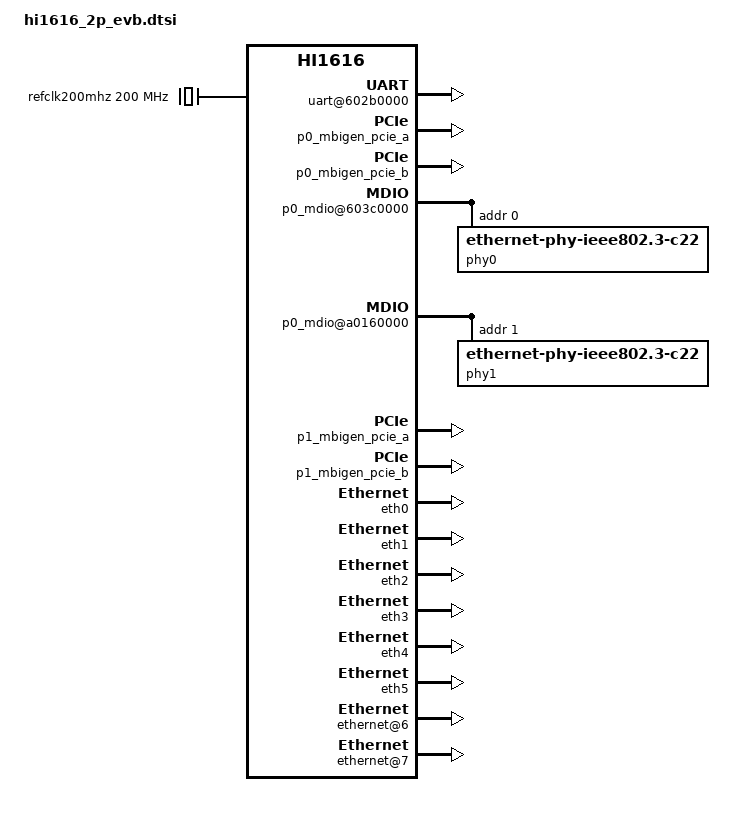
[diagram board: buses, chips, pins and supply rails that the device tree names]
/**
 * dtsi file for Hisilicon Hi1616 EVB
 *
 * Copyright (C) 2016 Hisilicon Ltd.
 *
 * This program is free software; you can redistribute it and/or modify
 * it under the terms of the GNU General Public License version 2 as
 * publishhed by the Free Software Foundation.
 *
 */

/ {
	#address-cells = <2>;
	#size-cells = <2>;
	compatible = "hisilicon,hi1616";
	interrupt-parent = <&gic0>;

	psci {
		compatible = "arm,psci-0.2";
		method = "smc";
	};

	cpus {
		#address-cells = <1>;
		#size-cells = <0>;

		cpu-map {
			cluster0 {
				core0 {
					cpu = <&CPU0>;
				};

				core1 {
					cpu = <&CPU1>;
				};

				core2 {
					cpu = <&CPU2>;
				};

				core3 {
					cpu = <&CPU3>;
				};

				core4 {
					cpu = <&CPU4>;
				};

				core5 {
					cpu = <&CPU5>;
				};

				core6 {
					cpu = <&CPU6>;
				};

				core7 {
					cpu = <&CPU7>;
				};

				core8 {
					cpu = <&CPU8>;
				};

				core9 {
					cpu = <&CPU9>;
				};

				core10 {
					cpu = <&CPU10>;
				};

				core11 {
					cpu = <&CPU11>;
				};

				core12 {
					cpu = <&CPU12>;
				};

				core13 {
					cpu = <&CPU13>;
				};

				core14 {
					cpu = <&CPU14>;
				};

				core15 {
					cpu = <&CPU15>;
				};
			};

			cluster1 {
				core0 {
					cpu = <&CPU16>;
				};

				core1 {
					cpu = <&CPU17>;
				};

				core2 {
					cpu = <&CPU18>;
				};

				core3 {
					cpu = <&CPU19>;
				};

				core4 {
					cpu = <&CPU20>;
				};

				core5 {
					cpu = <&CPU21>;
				};

				core6 {
					cpu = <&CPU22>;
				};

				core7 {
					cpu = <&CPU23>;
				};

				core8 {
					cpu = <&CPU24>;
				};

				core9 {
					cpu = <&CPU25>;
				};

				core10 {
					cpu = <&CPU26>;
				};

				core11 {
					cpu = <&CPU27>;
				};

				core12 {
					cpu = <&CPU28>;
				};

				core13 {
					cpu = <&CPU29>;
				};

				core14 {
					cpu = <&CPU30>;
				};

				core15 {
					cpu = <&CPU31>;
				};
			};

			cluster2 {
				core0 {
					cpu = <&CPU32>;
				};

				core1 {
					cpu = <&CPU33>;
				};

				core2 {
					cpu = <&CPU34>;
				};

				core3 {
					cpu = <&CPU35>;
				};

				core4 {
					cpu = <&CPU36>;
				};

				core5 {
					cpu = <&CPU37>;
				};

				core6 {
					cpu = <&CPU38>;
				};

				core7 {
					cpu = <&CPU39>;
				};

				core8 {
					cpu = <&CPU40>;
				};

				core9 {
					cpu = <&CPU41>;
				};

				core10 {
					cpu = <&CPU42>;
				};

				core11 {
					cpu = <&CPU43>;
				};

				core12 {
					cpu = <&CPU44>;
				};

				core13 {
					cpu = <&CPU45>;
				};

				core14 {
					cpu = <&CPU46>;
				};

				core15 {
					cpu = <&CPU47>;
				};
			};

			cluster3 {
				core0 {
					cpu = <&CPU48>;
				};

				core1 {
					cpu = <&CPU49>;
				};

				core2 {
					cpu = <&CPU50>;
				};

				core3 {
					cpu = <&CPU51>;
				};

				core4 {
					cpu = <&CPU52>;
				};

				core5 {
					cpu = <&CPU53>;
				};

				core6 {
					cpu = <&CPU54>;
				};

				core7 {
					cpu = <&CPU55>;
				};

				core8 {
					cpu = <&CPU56>;
				};

				core9 {
					cpu = <&CPU57>;
				};

				core10 {
					cpu = <&CPU58>;
				};

				core11 {
					cpu = <&CPU59>;
				};

				core12 {
					cpu = <&CPU60>;
				};

				core13 {
					cpu = <&CPU61>;
				};

				core14 {
					cpu = <&CPU62>;
				};

				core15 {
					cpu = <&CPU63>;
				};
			};
		};

		CPU0: cpu@10000 {
			device_type = "cpu";
			compatible = "arm,armv8";
			reg = <0x10000>;
			enable-method = "psci";
			numa-node-id = <0>;
		};

		CPU1: cpu@10001 {
			device_type = "cpu";
			compatible = "arm,armv8";
			reg = <0x10001>;
			enable-method = "psci";
			numa-node-id = <0>;
		};

		CPU2: cpu@10002 {
			device_type = "cpu";
			compatible = "arm,armv8";
			reg = <0x10002>;
			enable-method = "psci";
			numa-node-id = <0>;
		};

		CPU3: cpu@10003 {
			device_type = "cpu";
			compatible = "arm,armv8";
			reg = <0x10003>;
			enable-method = "psci";
			numa-node-id = <0>;
		};

		CPU4: cpu@10100 {
			device_type = "cpu";
			compatible = "arm,armv8";
			reg = <0x10100>;
			enable-method = "psci";
			numa-node-id = <0>;
		};

		CPU5: cpu@10101 {
			device_type = "cpu";
			compatible = "arm,armv8";
			reg = <0x10101>;
			enable-method = "psci";
			numa-node-id = <0>;
		};

		CPU6: cpu@10102 {
			device_type = "cpu";
			compatible = "arm,armv8";
			reg = <0x10102>;
			enable-method = "psci";
			numa-node-id = <0>;
		};

		CPU7: cpu@10103 {
			device_type = "cpu";
			compatible = "arm,armv8";
			reg = <0x10103>;
			enable-method = "psci";
			numa-node-id = <0>;
		};

		CPU8: cpu@10200 {
			device_type = "cpu";
			compatible = "arm,armv8";
			reg = <0x10200>;
			enable-method = "psci";
			numa-node-id = <0>;
		};

		CPU9: cpu@10201 {
			device_type = "cpu";
			compatible = "arm,armv8";
			reg = <0x10201>;
			enable-method = "psci";
			numa-node-id = <0>;
		};

		CPU10: cpu@10202 {
			device_type = "cpu";
			compatible = "arm,armv8";
			reg = <0x10202>;
			enable-method = "psci";
			numa-node-id = <0>;
		};

		CPU11: cpu@10203 {
			device_type = "cpu";
			compatible = "arm,armv8";
			reg = <0x10203>;
			enable-method = "psci";
			numa-node-id = <0>;
		};

		CPU12: cpu@10300 {
			device_type = "cpu";
			compatible = "arm,armv8";
			reg = <0x10300>;
			enable-method = "psci";
			numa-node-id = <0>;
		};

		CPU13: cpu@10301 {
			device_type = "cpu";
			compatible = "arm,armv8";
			reg = <0x10301>;
			enable-method = "psci";
			numa-node-id = <0>;
		};

		CPU14: cpu@10302 {
			device_type = "cpu";
			compatible = "arm,armv8";
			reg = <0x10302>;
			enable-method = "psci";
			numa-node-id = <0>;
		};

		CPU15: cpu@10303 {
			device_type = "cpu";
			compatible = "arm,armv8";
			reg = <0x10303>;
			enable-method = "psci";
			numa-node-id = <0>;
		};

		CPU16: cpu@30000 {
			device_type = "cpu";
			compatible = "arm,armv8";
			reg = <0x30000>;
			enable-method = "psci";
			numa-node-id = <1>;
		};

		CPU17: cpu@30001 {
			device_type = "cpu";
			compatible = "arm,armv8";
			reg = <0x30001>;
			enable-method = "psci";
			numa-node-id = <1>;
		};

		CPU18: cpu@30002 {
			device_type = "cpu";
			compatible = "arm,armv8";
			reg = <0x30002>;
			enable-method = "psci";
			numa-node-id = <1>;
		};

		CPU19: cpu@30003 {
			device_type = "cpu";
			compatible = "arm,armv8";
			reg = <0x30003>;
			enable-method = "psci";
			numa-node-id = <1>;
		};

		CPU20: cpu@30100 {
			device_type = "cpu";
			compatible = "arm,armv8";
			reg = <0x30100>;
			enable-method = "psci";
			numa-node-id = <1>;
		};

		CPU21: cpu@30101 {
			device_type = "cpu";
			compatible = "arm,armv8";
			reg = <0x30101>;
			enable-method = "psci";
			numa-node-id = <1>;
		};

		CPU22: cpu@30102 {
			device_type = "cpu";
			compatible = "arm,armv8";
			reg = <0x30102>;
			enable-method = "psci";
			numa-node-id = <1>;
		};

		CPU23: cpu@30103 {
			device_type = "cpu";
			compatible = "arm,armv8";
			reg = <0x30103>;
			enable-method = "psci";
			numa-node-id = <1>;
		};

		CPU24: cpu@30200 {
			device_type = "cpu";
			compatible = "arm,armv8";
			reg = <0x30200>;
			enable-method = "psci";
			numa-node-id = <1>;
		};

		CPU25: cpu@30201 {
			device_type = "cpu";
			compatible = "arm,armv8";
			reg = <0x30201>;
			enable-method = "psci";
			numa-node-id = <1>;
		};

		CPU26: cpu@30202 {
			device_type = "cpu";
			compatible = "arm,armv8";
			reg = <0x30202>;
			enable-method = "psci";
			numa-node-id = <1>;
		};

		CPU27: cpu@30203 {
			device_type = "cpu";
			compatible = "arm,armv8";
			reg = <0x30203>;
			enable-method = "psci";
			numa-node-id = <1>;
		};

		CPU28: cpu@30300 {
			device_type = "cpu";
			compatible = "arm,armv8";
			reg = <0x30300>;
			enable-method = "psci";
			numa-node-id = <1>;
		};

		CPU29: cpu@30301 {
			device_type = "cpu";
			compatible = "arm,armv8";
			reg = <0x30301>;
			enable-method = "psci";
			numa-node-id = <1>;
		};

		CPU30: cpu@30302 {
			device_type = "cpu";
			compatible = "arm,armv8";
			reg = <0x30302>;
			enable-method = "psci";
			numa-node-id = <1>;
		};

		CPU31: cpu@30303 {
			device_type = "cpu";
			compatible = "arm,armv8";
			reg = <0x30303>;
			enable-method = "psci";
			numa-node-id = <1>;
		};

		CPU32: cpu@50000 {
			device_type = "cpu";
			compatible = "arm,armv8";
			reg = <0x50000>;
			enable-method = "psci";
			numa-node-id = <2>;
		};

		CPU33: cpu@50001 {
			device_type = "cpu";
			compatible = "arm,armv8";
			reg = <0x50001>;
			enable-method = "psci";
			numa-node-id = <2>;
		};

		CPU34: cpu@50002 {
			device_type = "cpu";
			compatible = "arm,armv8";
			reg = <0x50002>;
			enable-method = "psci";
			numa-node-id = <2>;
		};

		CPU35: cpu@50003 {
			device_type = "cpu";
			compatible = "arm,armv8";
			reg = <0x50003>;
			enable-method = "psci";
			numa-node-id = <2>;
		};

		CPU36: cpu@50100 {
			device_type = "cpu";
			compatible = "arm,armv8";
			reg = <0x50100>;
			enable-method = "psci";
			numa-node-id = <2>;
		};

		CPU37: cpu@50101 {
			device_type = "cpu";
			compatible = "arm,armv8";
			reg = <0x50101>;
			enable-method = "psci";
			numa-node-id = <2>;
		};

		CPU38: cpu@50102 {
			device_type = "cpu";
			compatible = "arm,armv8";
			reg = <0x50102>;
			enable-method = "psci";
			numa-node-id = <2>;
		};

		CPU39: cpu@50103 {
			device_type = "cpu";
			compatible = "arm,armv8";
			reg = <0x50103>;
			enable-method = "psci";
			numa-node-id = <2>;
		};

		CPU40: cpu@50200 {
			device_type = "cpu";
			compatible = "arm,armv8";
			reg = <0x50200>;
			enable-method = "psci";
			numa-node-id = <2>;
		};

		CPU41: cpu@50201 {
			device_type = "cpu";
			compatible = "arm,armv8";
			reg = <0x50201>;
			enable-method = "psci";
			numa-node-id = <2>;
		};

		CPU42: cpu@50202 {
			device_type = "cpu";
			compatible = "arm,armv8";
			reg = <0x50202>;
			enable-method = "psci";
			numa-node-id = <2>;
		};

		CPU43: cpu@50203 {
			device_type = "cpu";
			compatible = "arm,armv8";
			reg = <0x50203>;
			enable-method = "psci";
			numa-node-id = <2>;
		};

		CPU44: cpu@50300 {
			device_type = "cpu";
			compatible = "arm,armv8";
			reg = <0x50300>;
			enable-method = "psci";
			numa-node-id = <2>;
		};

		CPU45: cpu@50301 {
			device_type = "cpu";
			compatible = "arm,armv8";
			reg = <0x50301>;
			enable-method = "psci";
			numa-node-id = <2>;
		};

		CPU46: cpu@50302 {
			device_type = "cpu";
			compatible = "arm,armv8";
			reg = <0x50302>;
			enable-method = "psci";
			numa-node-id = <2>;
		};

		CPU47: cpu@50303 {
			device_type = "cpu";
			compatible = "arm,armv8";
			reg = <0x50303>;
			enable-method = "psci";
			numa-node-id = <2>;
		};

		CPU48: cpu@70000 {
			device_type = "cpu";
			compatible = "arm,armv8";
			reg = <0x70000>;
			enable-method = "psci";
			numa-node-id = <3>;
		};

		CPU49: cpu@70001 {
			device_type = "cpu";
			compatible = "arm,armv8";
			reg = <0x70001>;
			enable-method = "psci";
			numa-node-id = <3>;
		};

		CPU50: cpu@70002 {
			device_type = "cpu";
			compatible = "arm,armv8";
			reg = <0x70002>;
			enable-method = "psci";
			numa-node-id = <3>;
		};

		CPU51: cpu@70003 {
			device_type = "cpu";
			compatible = "arm,armv8";
			reg = <0x70003>;
			enable-method = "psci";
			numa-node-id = <3>;
		};

		CPU52: cpu@70100 {
			device_type = "cpu";
			compatible = "arm,armv8";
			reg = <0x70100>;
			enable-method = "psci";
			numa-node-id = <3>;
		};

		CPU53: cpu@70101 {
			device_type = "cpu";
			compatible = "arm,armv8";
			reg = <0x70101>;
			enable-method = "psci";
			numa-node-id = <3>;
		};

		CPU54: cpu@70102 {
			device_type = "cpu";
			compatible = "arm,armv8";
			reg = <0x70102>;
			enable-method = "psci";
			numa-node-id = <3>;
		};

		CPU55: cpu@70103 {
			device_type = "cpu";
			compatible = "arm,armv8";
			reg = <0x70103>;
			enable-method = "psci";
			numa-node-id = <3>;
		};

		CPU56: cpu@70200 {
			device_type = "cpu";
			compatible = "arm,armv8";
			reg = <0x70200>;
			enable-method = "psci";
			numa-node-id = <3>;
		};

		CPU57: cpu@70201 {
			device_type = "cpu";
			compatible = "arm,armv8";
			reg = <0x70201>;
			enable-method = "psci";
			numa-node-id = <3>;
		};

		CPU58: cpu@70202 {
			device_type = "cpu";
			compatible = "arm,armv8";
			reg = <0x70202>;
			enable-method = "psci";
			numa-node-id = <3>;
		};

		CPU59: cpu@70203 {
			device_type = "cpu";
			compatible = "arm,armv8";
			reg = <0x70203>;
			enable-method = "psci";
			numa-node-id = <3>;
		};

		CPU60: cpu@70300 {
			device_type = "cpu";
			compatible = "arm,armv8";
			reg = <0x70300>;
			enable-method = "psci";
			numa-node-id = <3>;
		};

		CPU61: cpu@70301 {
			device_type = "cpu";
			compatible = "arm,armv8";
			reg = <0x70301>;
			enable-method = "psci";
			numa-node-id = <3>;
		};

		CPU62: cpu@70302 {
			device_type = "cpu";
			compatible = "arm,armv8";
			reg = <0x70302>;
			enable-method = "psci";
			numa-node-id = <3>;
		};

		CPU63: cpu@70303 {
			device_type = "cpu";
			compatible = "arm,armv8";
			reg = <0x70303>;
			enable-method = "psci";
			numa-node-id = <3>;
		};
	};

	distance-map {
		compatible = "numa-distance-map-v1";
		distance-matrix = <0 1 15>, <2 3 15>;
	};

	gic0: interrupt-controller@4d000000 {
		compatible = "arm,gic-v3";
		#interrupt-cells = <3>;
		#address-cells = <2>;
		#size-cells = <2>;
		ranges;
		status-clear-fixup;
		interrupt-controller;
		#redistributor-regions = <4>;
		redistributor-stride = <0x0 0x40000>;
		reg = <0x0 0x4d000000 0x0 0x10000>,	/* P0 GICD A*/
		      <0x0 0x4d100000 0x0 0x400000>,	/* P0 GICR A*/
		      <0x0 0x6d100000 0x0 0x400000>,	/* P0 GICR B*/
		      <0x400 0x4d100000 0x0 0x400000>,	/* P1 GICR A*/
		      <0x400 0x6d100000 0x0 0x400000>,	/* P1 GICR B*/
		      <0x0 0xfe000000 0x0 0x10000>,	/* GICC */
		      <0x0 0xfe010000 0x0 0x10000>,     /* GICH */
		      <0x0 0xfe020000 0x0 0x10000>;     /* GICV */
		interrupts = <1 9 0xff04>;

		p0_its_peri_a: interrupt-controller@0x4c000000 {
			compatible = "arm,gic-v3-its";
			msi-controller;
			reg = <0x0 0x4c000000 0x0 0x1000000>;
		};

		p0_its_peri_b: interrupt-controller@0x6c000000 {
			compatible = "arm,gic-v3-its";
			msi-controller;
			reg = <0x0 0x6c000000 0x0 0x1000000>;
		};

		p0_its_dsa_a: interrupt-controller@0xc6000000 {
			compatible = "arm,gic-v3-its";
			msi-controller;
			reg = <0x0 0xc6000000 0x0 0x1000000>;
		};

		p0_its_dsa_b: interrupt-controller@0x8c6000000 {
			compatible = "arm,gic-v3-its";
			msi-controller;
			reg = <0x8 0xc6000000 0x0 0x1000000>;
		};

		p1_its_peri_a: interrupt-controller@0x4004c000000 {
			compatible = "arm,gic-v3-its";
			msi-controller;
			reg = <0x400 0x4c000000 0x0 0x1000000>;
		};

		p1_its_peri_b: interrupt-controller@0x4006c000000 {
			compatible = "arm,gic-v3-its";
			msi-controller;
			reg = <0x400 0x6c000000 0x0 0x1000000>;
		};

		p1_its_dsa_a: interrupt-controller@0x400c6000000 {
			compatible = "arm,gic-v3-its";
			msi-controller;
			reg = <0x400 0xc6000000 0x0 0x1000000>;
		};

		p1_its_dsa_b: interrupt-controller@0x408c6000000 {
			compatible = "arm,gic-v3-its";
			msi-controller;
			reg = <0x408 0xc6000000 0x0 0x1000000>;
		};
	};

	timer {
		compatible = "arm,armv8-timer";
		interrupts = <1 13 4>,
			     <1 14 4>,
			     <1 11 4>,
			     <1 10 4>;
		hisi,erratum-totem-v2;
	};

	pmu {
		compatible = "arm,armv8-pmuv3";
		interrupts = <1 7 4>;
	};

	soc {
		compatible = "simple-bus";
		#address-cells = <2>;
		#size-cells = <2>;
		ranges;

		refclk200mhz: refclk200mhz {
			compatible = "fixed-clock";
			#clock-cells = <0>;
			clock-frequency = <200000000>;
		};

		uart@602b0000 {
			compatible = "arm,pl011", "arm,primecell";
			reg = <0x0 0x602b0000 0x0 0x1000>;
			interrupt-parent = <&p0_mbigen_peri_b>;
			interrupts = <0x120c7 1 103 6>;
			clocks = <&refclk200mhz>;
			clock-names = "apb_pclk";
		};

		p0_mbigen_peri_a: interrupt-controller@40080000 {
			compatible = "hisilicon,mbigen-v2";
			msi-parent = <&p0_its_peri_a>;
			interrupt-controller;
			#interrupt-cells = <0x4>;
			reg = <0x0 0x40080000 0x0 0x10000>;
		};

		p0_mbigen_peri_b: interrupt-controller@60080000 {
			compatible = "hisilicon,mbigen-v2";
			msi-parent = <&p0_its_peri_b>;
			interrupt-controller;
			#interrupt-cells = <0x4>;
			reg = <0x0 0x60080000 0x0 0x10000>;
		};

		p0_mbigen_pcie_a: interrupt-controller@a0080000 {
			compatible = "hisilicon,mbigen-v2";
			msi-parent = <&p0_its_dsa_a>;
			interrupt-controller;
			#interrupt-cells = <4>;
			reg = <0x0 0xa0080000 0x0 0x10000>;
		};

		p0_mbigen_dsa_a: interrupt-controller@c0080000 {
			compatible = "hisilicon,mbigen-v2";
			msi-parent = <&p0_its_dsa_a>;
			interrupt-controller;
			#interrupt-cells = <4>;
			reg = <0x0 0xc0080000 0x0 0x10000>;
		};

		p0_mbigen_alg_a: interrupt-controller@d0080000 {
			compatible = "hisilicon,mbigen-v2";
			msi-parent = <&p0_its_dsa_a>;
			interrupt-controller;
			#interrupt-cells = <4>;
			reg = <0x0 0xd0080000 0x0 0x10000>;
		};

		p0_mbigen_pcie_b: interrupt-controller@8a0080000 {
			compatible = "hisilicon,mbigen-v2";
			msi-parent = <&p0_its_dsa_b>;
			interrupt-controller;
			#interrupt-cells = <4>;
			reg = <0x8 0xa0080000 0x0 0x10000>;
		};

		p0_mbigen_dsa_b: interrupt-controller@8c0080000 {
			compatible = "hisilicon,mbigen-v2";
			msi-parent = <&p0_its_dsa_b>;
			interrupt-controller;
			#interrupt-cells = <4>;
			reg = <0x8 0xc0080000 0x0 0x10000>;
		};

		p0_mbigen_alg_b: interrupt-controller@8d0080000 {
			compatible = "hisilicon,mbigen-v2";
			msi-parent = <&p0_its_dsa_b>;
			interrupt-controller;
			#interrupt-cells = <4>;
			reg = <0x8 0xd0080000 0x0 0x10000>;
		};

		p0_peri_c_subctrl: sub_ctrl_c@60000000 {
			compatible = "hisilicon,peri-c-subctrl", "syscon";
			reg = <0 0x60000000 0 0x10000>;
		};

		p0_io_wrap_ctrl: wrap_ctrl@a0100000 {
			compatible = "hisilicon,io-wrap-ctrl", "syscon";
			reg = <0 0xa0100000 0 0x10000>;
		};

		p0_mdio@603c0000 {
			compatible = "hisilicon,hi1616-mdio";
			reg = <0x0 0x603c0000 0x0 0x1000>;
			subctrl_vbase = <&p0_peri_c_subctrl>;
			#address-cells = <0x1>;
			#size-cells = <0x0>;

			phy0: ethernet-phy@6 {
				compatible = "ethernet-phy-ieee802.3-c22";
				reg = <0>;
			};
		};

		p0_mdio@a0160000 {
			compatible = "hisilicon,hi1616-mdio";
			reg = <0x0 0xa0160000 0x0 0x1000>;
			subctrl_vbase = <&p0_io_wrap_ctrl>;
			#address-cells = <0x1>;
			#size-cells = <0x0>;

			phy1: ethernet-phy@7 {
				compatible = "ethernet-phy-ieee802.3-c22";
				reg = <1>;
			};
		};

		p1_mbigen_peri_a: interrupt-controller@40040080000 {
			compatible = "hisilicon,mbigen-v2";
			msi-parent = <&p1_its_peri_a>;
			interrupt-controller;
			#interrupt-cells = <0x4>;
			reg = <0x400 0x40080000 0x0 0x10000>;
		};

		p1_mbigen_peri_b: interrupt-controller@40060080000 {
			compatible = "hisilicon,mbigen-v2";
			msi-parent = <&p1_its_peri_b>;
			interrupt-controller;
			#interrupt-cells = <0x4>;
			reg = <0x400 0x60080000 0x0 0x10000>;
		};

		p1_mbigen_pcie_a: interrupt-controller@400a0080000 {
			compatible = "hisilicon,mbigen-v2";
			msi-parent = <&p1_its_dsa_a>;
			interrupt-controller;
			#interrupt-cells = <4>;
			reg = <0x400 0xa0080000 0x0 0x10000>;
		};

		p1_mbigen_dsa_a: interrupt-controller@400c0080000 {
			compatible = "hisilicon,mbigen-v2";
			msi-parent = <&p1_its_dsa_a>;
			interrupt-controller;
			#interrupt-cells = <4>;
			reg = <0x400 0xc0080000 0x0 0x10000>;
		};

		p1_mbigen_alg_a: interrupt-controller@400d0080000 {
			compatible = "hisilicon,mbigen-v2";
			msi-parent = <&p1_its_dsa_a>;
			interrupt-controller;
			#interrupt-cells = <4>;
			reg = <0x400 0xd0080000 0x0 0x10000>;
		};

		p1_mbigen_pcie_b: interrupt-controller@408a0080000 {
			compatible = "hisilicon,mbigen-v2";
			msi-parent = <&p1_its_dsa_b>;
			interrupt-controller;
			#interrupt-cells = <4>;
			reg = <0x408 0xa0080000 0x0 0x10000>;
		};

		p1_mbigen_dsa_b: interrupt-controller@408c0080000 {
			compatible = "hisilicon,mbigen-v2";
			msi-parent = <&p1_its_dsa_b>;
			interrupt-controller;
			#interrupt-cells = <4>;
			reg = <0x408 0xc0080000 0x0 0x10000>;
		};

		p1_mbigen_alg_b: interrupt-controller@408d0080000 {
			compatible = "hisilicon,mbigen-v2";
			msi-parent = <&p1_its_dsa_b>;
			interrupt-controller;
			#interrupt-cells = <4>;
			reg = <0x408 0xd0080000 0x0 0x10000>;
		};

		/* djtag in p0 cpu die */
		p0_totem_sysctrl_a: system-controller@40010000 {
			compatible = "hisilicon,hi1616-sysctrl", "syscon";
			reg = <0x0 0x40010000 0x0 0x10000>;
		};

		p0_totem_sysctrl_b: system-controller@60010000 {
			compatible = "hisilicon,hi1616-sysctrl", "syscon";
			reg = <0x0 0x60010000 0x0 0x10000>;
		};

		p0_djtag0: djtag@p0_0 {
			compatible = "hisilicon,hi1382-djtag";
			syscon = <&p0_totem_sysctrl_a>;
		};

		p0_djtag1: djtag@p0_1 {
			compatible = "hisilicon,hi1382-djtag";
			syscon = <&p0_totem_sysctrl_b>;
		};

		/* djtag in p0 io die */
		p0_nimbus_sysctrl_a: system-controller@d0000000 {
			compatible = "hisilicon,hi1616-io-sysctrl", "syscon";
			reg = <0x0 0xD0000000 0x0 0x10000>;
		};

		p0_nimbus_sysctrl_b: system-controller@8d0000000 {
			compatible = "hisilicon,hi1616-io-sysctrl", "syscon";
			reg = <0x8 0xD0000000 0x0 0x10000>;
		};

		p0_djtag2: djtag@p0_2 {
			compatible = "hisilicon,hi1382-djtag";
			syscon = <&p0_nimbus_sysctrl_a>;
		};

		p0_djtag3: djtag@p0_3 {
			compatible = "hisilicon,hi1382-djtag";
			syscon = <&p0_nimbus_sysctrl_b>;
		};

		/* djtag in p1 cpu die */
		p1_totem_sysctrl_a: system-controller@40040010000 {
			compatible = "hisilicon,hi1616-sysctrl", "syscon";
			reg = <0x400 0x40010000 0x0 0x10000>;
		};

		p1_totem_sysctrl_b: system-controller@40060010000 {
			compatible = "hisilicon,hi1616-sysctrl", "syscon";
			reg = <0x400 0x60010000 0x0 0x10000>;
		};

		p1_djtag0: djtag@p1_0 {
			compatible = "hisilicon,hi1382-djtag";
			syscon = <&p1_totem_sysctrl_a>;
		};

		p1_djtag1: djtag@p1_1 {
			compatible = "hisilicon,hi1382-djtag";
			syscon = <&p1_totem_sysctrl_b>;
		};

		/* djtag in p1 io die */
		p1_nimbus_sysctrl_a: system-controller@400d0000000 {
			compatible = "hisilicon,hi1616-io-sysctrl", "syscon";
			reg = <0x400 0xD0000000 0x0 0x10000>;
		};

		p1_nimbus_sysctrl_b: system-controller@408d0000000 {
			compatible = "hisilicon,hi1616-io-sysctrl", "syscon";
			reg = <0x408 0xD0000000 0x0 0x10000>;
		};

		p1_djtag2: djtag@p1_2 {
			compatible = "hisilicon,hi1382-djtag";
			syscon = <&p1_nimbus_sysctrl_a>;
		};

		p1_djtag3: djtag@p1_3 {
			compatible = "hisilicon,hi1382-djtag";
			syscon = <&p1_nimbus_sysctrl_b>;
		};
	};

	soc0: soc@000000000 {
		#address-cells = <2>;
		#size-cells = <2>;
		device_type = "soc";
		compatible = "simple-bus";
		ranges;
		chip-id = <0>;

		/* dsa info */
		soc0_dsa: dsa@c0000000 {
			compatible = "hisilicon,hns-dsaf-v2";
			phy-handle = <0 0 0 0 0 0 &phy0 &phy1>;
			mode = "6port-16rss";
			media-type = "fiber", "fiber", "fiber", "fiber",
				"fiber", "fiber", "copper", "copper";

			reg = <0x0 0xC0000000 0x0 0x420000
					0x0 0xC2000000 0x0 0x300000
					0x0 0xc5000000 0x0 0x890000
					0x0 0xc7000000 0x0 0x60000>;

			desc-num = <0x400>;
			buf-size = <0x1000>;
			m3-enable = <0>;
			interrupt-parent  = <&p0_mbigen_dsa_a>;
			interrupts = <0x40800 409 0 5>,
						<0x40800 409 1 5>,
						<0x40800 409 2 5>,
						<0x40800 409 3 5>,
						<0x40800 409 4 5>,
						<0x40800 409 5 5>,
						<0x40800 409 6 5>,
						<0x40800 409 7 5>,
						<0x40800 409 8 5>,
						<0x40800 409 9 5>,
						<0x40800 409 10 5>,
						<0x40800 409 11 5>,
						<0x40800 409 12 5>,
						<0x40800 409 0 7>,
						<0x40800 409 1 7>,
						<0x40800 409 2 7>,
						<0x40800 409 3 7>,
						<0x40800 409 4 7>,
						<0x40800 409 5 7>,
						<0x40800 409 6 7>,
						<0x40800 409 7 7>,
						<0x40800 409 8 7>,
						<0x40800 409 9 7>,
						<0x40800 409 10 7>,
						<0x40800 409 11 7>,
						<0x40800 409 0 8>,
						<0x40800 409 1 8>,
						<0x40800 409 2 8>,
						<0x40800 409 3 8>,
						<0x40800 409 4 8>,
						<0x40800 409 5 8>,
						<0x40800 409 6 8>,
						<0x40800 409 7 8>,
						<0x40800 409 8 8>,
						<0x40800 409 9 8>,
						<0x40800 409 10 8>,
						<0x40800 409 11 8>,
						<0x40800 409 12 8>,
						<0x40800 409 13 8>,
						<0x40800 409 14 8>,
						<0x40800 409 15 8>,
						<0x40800 409 16 8>,
						<0x40800 409 17 8>,
						<0x40800 409 18 8>,
						<0x40800 409 19 8>,
						<0x40800 409 20 8>,
						<0x40800 409 21 8>,
						<0x40800 409 22 8>,
						<0x40800 409 23 8>,
						<0x40800 409 24 8>,
						<0x40800 409 25 8>,
						<0x40800 409 26 8>,
						<0x40800 409 27 8>,
						<0x40800 409 28 8>,
						<0x40800 409 29 8>,
						<0x40800 409 30 8>,
						<0x40800 409 31 8>,
						<0x40800 409 32 8>,
						<0x40800 409 33 8>,
						<0x40800 409 34 8>,
						<0x40800 409 35 8>,
						<0x40800 409 36 8>,
						<0x40800 409 37 8>,
						<0x40800 409 38 8>,
						<0x40800 409 39 8>,
						<0x40800 409 40 8>,
						<0x40800 409 41 8>,
						<0x40800 409 42 8>,
						<0x40800 409 43 8>,
						<0x40800 409 44 8>,
						<0x40800 409 45 8>,
						<0x40800 409 46 8>,
						<0x40800 409 47 8>,
						<0x40800 409 48 8>,
						<0x40800 409 49 8>,
						<0x40800 409 50 8>,
						<0x40800 409 51 8>,
						<0x40800 409 52 8>,
						<0x40800 409 53 8>,
						<0x40800 409 54 8>,
						<0x40800 409 55 8>,
						<0x40800 409 56 8>,
						<0x40800 409 57 8>,
						<0x40800 409 58 8>,
						<0x40800 409 59 8>,
						<0x40800 409 60 8>,
						<0x40800 409 61 8>,
						<0x40800 409 62 8>,
						<0x40800 409 63 8>,
						<0x40800 409 64 8>,
						<0x40800 409 65 8>,
						<0x40800 409 66 8>,
						<0x40800 409 67 8>,
						<0x40800 409 68 8>,
						<0x40800 409 69 8>,
						<0x40800 409 70 8>,
						<0x40800 409 71 8>,
						<0x40800 409 72 8>,
						<0x40800 409 73 8>,
						<0x40800 409 74 8>,
						<0x40800 409 75 8>,
						<0x40800 409 76 8>,
						<0x40800 409 77 8>,
						<0x40800 409 78 8>,
						<0x40800 409 79 8>,
						<0x40800 409 80 8>,
						<0x40800 409 81 8>,
						<0x40800 409 82 8>,
						<0x40800 409 83 8>,
						<0x40800 409 84 8>,
						<0x40800 409 85 8>,
						<0x40800 409 86 8>,
						<0x40800 409 87 8>,
						<0x40800 409 88 8>,
						<0x40800 409 89 8>,
						<0x40800 409 90 8>,
						<0x40800 409 91 8>,
						<0x40800 409 92 8>,
						<0x40800 409 93 8>,
						<0x40800 409 94 8>,
						<0x40800 409 95 8>,
						<0x40800 409 96 8>,
						<0x40800 409 97 8>,
						<0x40800 409 98 8>,
						<0x40800 409 99 8>,
						<0x40800 409 100 8>,
						<0x40800 409 101 8>,
						<0x40800 409 102 8>,
						<0x40800 409 103 8>,
						<0x40800 409 104 8>,
						<0x40800 409 105 8>,
						<0x40800 409 106 8>,
						<0x40800 409 107 8>,
						<0x40800 409 108 8>,
						<0x40800 409 109 8>,
						<0x40800 409 110 8>,
						<0x40800 409 111 8>,
						<0x40800 409 112 8>,
						<0x40800 409 113 8>,
						<0x40800 409 114 8>,
						<0x40800 409 115 8>,
						<0x40800 409 116 8>,
						<0x40800 409 117 8>,
						<0x40800 409 118 8>,
						<0x40800 409 119 8>,
						<0x40800 409 120 8>,
						<0x40800 409 121 8>,
						<0x40800 409 122 8>,
						<0x40800 409 123 8>,
						<0x40800 409 124 8>,
						<0x40800 409 125 8>,
						<0x40800 409 126 8>,
						<0x40800 409 127 8>,
						<0x40800 409 0 9>,
						<0x40800 409 1 9>,
						<0x40800 409 2 9>,
						<0x40800 409 3 9>,
						<0x40800 409 4 9>,
						<0x40800 409 5 9>,
						<0x40800 409 6 9>,
						<0x40800 409 7 9>,
						<0x40800 409 8 9>,
						<0x40800 409 9 9>,
						<0x40800 409 10 9>,
						<0x40800 409 11 9>,
						<0x40800 409 12 9>,
						<0x40800 409 13 9>,
						<0x40800 409 14 9>,
						<0x40800 409 15 9>,
						<0x40800 409 16 9>,
						<0x40800 409 17 9>,
						<0x40800 409 18 9>,
						<0x40800 409 19 9>,
						<0x40800 409 20 9>,
						<0x40800 409 21 9>,
						<0x40800 409 22 9>,
						<0x40800 409 23 9>,
						<0x40800 409 24 9>,
						<0x40800 409 25 9>,
						<0x40800 409 26 9>,
						<0x40800 409 27 9>,
						<0x40800 409 28 9>,
						<0x40800 409 29 9>,
						<0x40800 409 30 9>,
						<0x40800 409 31 9>,
						<0x40800 409 32 9>,
						<0x40800 409 33 9>,
						<0x40800 409 34 9>,
						<0x40800 409 35 9>,
						<0x40800 409 36 9>,
						<0x40800 409 37 9>,
						<0x40800 409 38 9>,
						<0x40800 409 39 9>,
						<0x40800 409 40 9>,
						<0x40800 409 41 9>,
						<0x40800 409 42 9>,
						<0x40800 409 43 9>,
						<0x40800 409 44 9>,
						<0x40800 409 45 9>,
						<0x40800 409 46 9>,
						<0x40800 409 47 9>,
						<0x40800 409 48 9>,
						<0x40800 409 49 9>,
						<0x40800 409 50 9>,
						<0x40800 409 51 9>,
						<0x40800 409 52 9>,
						<0x40800 409 53 9>,
						<0x40800 409 54 9>,
						<0x40800 409 55 9>,
						<0x40800 409 56 9>,
						<0x40800 409 57 9>,
						<0x40800 409 58 9>,
						<0x40800 409 59 9>,
						<0x40800 409 60 9>,
						<0x40800 409 61 9>,
						<0x40800 409 62 9>,
						<0x40800 409 63 9>,
						<0x40800 409 64 9>,
						<0x40800 409 65 9>,
						<0x40800 409 66 9>,
						<0x40800 409 67 9>,
						<0x40800 409 68 9>,
						<0x40800 409 69 9>,
						<0x40800 409 70 9>,
						<0x40800 409 71 9>,
						<0x40800 409 72 9>,
						<0x40800 409 73 9>,
						<0x40800 409 74 9>,
						<0x40800 409 75 9>,
						<0x40800 409 76 9>,
						<0x40800 409 77 9>,
						<0x40800 409 78 9>,
						<0x40800 409 79 9>,
						<0x40800 409 80 9>,
						<0x40800 409 81 9>,
						<0x40800 409 82 9>,
						<0x40800 409 83 9>,
						<0x40800 409 84 9>,
						<0x40800 409 85 9>,
						<0x40800 409 86 9>,
						<0x40800 409 87 9>,
						<0x40800 409 88 9>,
						<0x40800 409 89 9>,
						<0x40800 409 90 9>,
						<0x40800 409 91 9>,
						<0x40800 409 92 9>,
						<0x40800 409 93 9>,
						<0x40800 409 94 9>,
						<0x40800 409 95 9>,
						<0x40800 409 96 9>,
						<0x40800 409 97 9>,
						<0x40800 409 98 9>,
						<0x40800 409 99 9>,
						<0x40800 409 100 9>,
						<0x40800 409 101 9>,
						<0x40800 409 102 9>,
						<0x40800 409 103 9>,
						<0x40800 409 104 9>,
						<0x40800 409 105 9>,
						<0x40800 409 106 9>,
						<0x40800 409 107 9>,
						<0x40800 409 108 9>,
						<0x40800 409 109 9>,
						<0x40800 409 110 9>,
						<0x40800 409 111 9>,
						<0x40800 409 112 9>,
						<0x40800 409 113 9>,
						<0x40800 409 114 9>,
						<0x40800 409 115 9>,
						<0x40800 409 116 9>,
						<0x40800 409 117 9>,
						<0x40800 409 118 9>,
						<0x40800 409 119 9>,
						<0x40800 409 120 9>,
						<0x40800 409 121 9>,
						<0x40800 409 122 9>,
						<0x40800 409 123 9>,
						<0x40800 409 124 9>,
						<0x40800 409 125 9>,
						<0x40800 409 126 9>,
						<0x40800 409 127 9>,
						<0x40800 409 0 10>,
						<0x40800 409 1 10>,
						<0x40800 409 2 10>,
						<0x40800 409 3 10>,
						<0x40800 409 4 10>,
						<0x40800 409 5 10>,
						<0x40800 409 6 10>,
						<0x40800 409 7 10>,
						<0x40800 409 8 10>,
						<0x40800 409 9 10>,
						<0x40800 409 10 10>,
						<0x40800 409 11 10>,
						<0x40800 409 12 10>,
						<0x40800 409 13 10>,
						<0x40800 409 14 10>,
						<0x40800 409 15 10>,
						<0x40800 409 16 10>,
						<0x40800 409 17 10>,
						<0x40800 409 18 10>,
						<0x40800 409 19 10>,
						<0x40800 409 20 10>,
						<0x40800 409 21 10>,
						<0x40800 409 22 10>,
						<0x40800 409 23 10>,
						<0x40800 409 24 10>,
						<0x40800 409 25 10>,
						<0x40800 409 26 10>,
						<0x40800 409 27 10>,
						<0x40800 409 28 10>,
						<0x40800 409 29 10>,
						<0x40800 409 30 10>,
						<0x40800 409 31 10>,
						<0x40800 409 32 10>,
						<0x40800 409 33 10>,
						<0x40800 409 34 10>,
						<0x40800 409 35 10>,
						<0x40800 409 36 10>,
						<0x40800 409 37 10>,
						<0x40800 409 38 10>,
						<0x40800 409 39 10>,
						<0x40800 409 40 10>,
						<0x40800 409 41 10>,
						<0x40800 409 42 10>,
						<0x40800 409 43 10>,
						<0x40800 409 44 10>,
						<0x40800 409 45 10>,
						<0x40800 409 46 10>,
						<0x40800 409 47 10>,
						<0x40800 409 48 10>,
						<0x40800 409 49 10>,
						<0x40800 409 50 10>,
						<0x40800 409 51 10>,
						<0x40800 409 52 10>,
						<0x40800 409 53 10>,
						<0x40800 409 54 10>,
						<0x40800 409 55 10>,
						<0x40800 409 56 10>,
						<0x40800 409 57 10>,
						<0x40800 409 58 10>,
						<0x40800 409 59 10>,
						<0x40800 409 60 10>,
						<0x40800 409 61 10>,
						<0x40800 409 62 10>,
						<0x40800 409 63 10>,
						<0x40800 409 64 10>,
						<0x40800 409 65 10>,
						<0x40800 409 66 10>,
						<0x40800 409 67 10>,
						<0x40800 409 68 10>,
						<0x40800 409 69 10>,
						<0x40800 409 70 10>,
						<0x40800 409 71 10>,
						<0x40800 409 72 10>,
						<0x40800 409 73 10>,
						<0x40800 409 74 10>,
						<0x40800 409 75 10>,
						<0x40800 409 76 10>,
						<0x40800 409 77 10>,
						<0x40800 409 78 10>,
						<0x40800 409 79 10>,
						<0x40800 409 80 10>,
						<0x40800 409 81 10>,
						<0x40800 409 82 10>,
						<0x40800 409 83 10>,
						<0x40800 409 84 10>,
						<0x40800 409 85 10>,
						<0x40800 409 86 10>,
						<0x40800 409 87 10>,
						<0x40800 409 88 10>,
						<0x40800 409 89 10>,
						<0x40800 409 90 10>,
						<0x40800 409 91 10>,
						<0x40800 409 92 10>,
						<0x40800 409 93 10>,
						<0x40800 409 94 10>,
						<0x40800 409 95 10>,
						<0x40800 409 96 10>,
						<0x40800 409 97 10>,
						<0x40800 409 98 10>,
						<0x40800 409 99 10>,
						<0x40800 409 100 10>,
						<0x40800 409 101 10>,
						<0x40800 409 102 10>,
						<0x40800 409 103 10>,
						<0x40800 409 104 10>,
						<0x40800 409 105 10>,
						<0x40800 409 106 10>,
						<0x40800 409 107 10>,
						<0x40800 409 108 10>,
						<0x40800 409 109 10>,
						<0x40800 409 110 10>,
						<0x40800 409 111 10>,
						<0x40800 409 112 10>,
						<0x40800 409 113 10>,
						<0x40800 409 114 10>,
						<0x40800 409 115 10>,
						<0x40800 409 116 10>,
						<0x40800 409 117 10>,
						<0x40800 409 118 10>,
						<0x40800 409 119 10>,
						<0x40800 409 120 10>,
						<0x40800 409 121 10>,
						<0x40800 409 122 10>,
						<0x40800 409 123 10>,
						<0x40800 409 124 10>,
						<0x40800 409 125 10>,
						<0x40800 409 126 10>,
						<0x40800 409 127 10>,
						<0x40b1c 9 0 6>,
						<0x40b1c 9 1 6>,
						<0x40b1c 9 2 6>,
						<0x40b1c 9 3 6>,
						<0x40b1c 9 4 6>,
						<0x40b1c 9 5 6>,
						<0x40b1c 9 6 6>,
						<0x40b1c 9 7 6>,
						<0x40b1c 9 8 6>,
						<0x40b1d 9 9 6>,
						<0x40b1d 9 10 6>,
						<0x40b1d 9 11 6>,
						<0x40b1d 9 12 6>,
						<0x40b1d 9 13 6>,
						<0x40b1d 9 14 6>,
						<0x40b1d 9 15 6>,
						<0x40b1d 9 16 6>,
						<0x40b1d 9 17 6>,
						<0x40b1f 18 51 6>,
						<0x40b1f 18 52 6>,
						<0x40b1f 18 53 6>,
						<0x40b1f 18 54 6>,
						<0x40b1f 18 55 6>,
						<0x40b1f 18 56 6>,
						<0x40b1f 18 57 6>,
						<0x40b1f 18 58 6>,
						<0x40b1f 18 59 6>,
						<0x40b1f 18 60 6>,
						<0x40b1f 18 61 6>,
						<0x40b1f 18 62 6>,
						<0x40b1f 18 63 6>,
						<0x40b1f 18 64 6>,
						<0x40b1f 18 65 6>,
						<0x40b1f 18 66 6>,
						<0x40b1f 18 67 6>,
						<0x40b1f 18 68 6>,
						<0x40881 12 13 5>,
						<0x40881 12 14 5>,
						<0x40881 12 15 5>,
						<0x40881 12 16 5>,
						<0x40881 12 17 5>,
						<0x40881 12 18 5>,
						<0x40881 12 19 5>,
						<0x40881 12 20 5>,
						<0x40881 12 21 5>,
						<0x40881 12 22 5>,
						<0x40881 12 23 5>,
						<0x40881 12 24 5>;
			dma-coherent;
		};

		eth0:ethernet@0 {
				compatible = "hisilicon,hns-nic-v2";
				ae-handle = <&soc0_dsa>;
				port-id = <2>;
				local-mac-address = [00 00 00 01 00 50];
				dma-coherent;
		};

		eth1:ethernet@1 {
				compatible = "hisilicon,hns-nic-v2";
				ae-handle = <&soc0_dsa>;
				port-id = <3>;
				local-mac-address = [00 00 00 01 00 51];
				dma-coherent;
		};

		eth2:ethernet@2 {
				compatible = "hisilicon,hns-nic-v2";
				ae-handle = <&soc0_dsa>;
				port-id = <4>;
				local-mac-address = [00 00 00 01 00 52];
				dma-coherent;
		};

		eth3:ethernet@3 {
				compatible = "hisilicon,hns-nic-v2";
				ae-handle = <&soc0_dsa>;
				port-id = <5>;
				local-mac-address = [00 00 00 01 00 53];
				dma-coherent;
		};

		eth4:ethernet@4 {
				compatible = "hisilicon,hns-nic-v2";
				ae-handle = <&soc0_dsa>;
				port-id = <7>;
				local-mac-address = [00 00 00 01 00 54];
				dma-coherent;
		};

		eth5:ethernet@5 {
				compatible = "hisilicon,hns-nic-v2";
				ae-handle = <&soc0_dsa>;
				port-id = <6>;
				local-mac-address = [00 00 00 01 00 55];
				dma-coherent;
		};

		ethernet@6 {
				compatible = "hisilicon,hns-nic-v2";
				ae-handle = <&soc0_dsa>;
				port-id = <0>;
				local-mac-address = [00 00 00 01 00 56];
				dma-coherent;
		};

		ethernet@7 {
				compatible = "hisilicon,hns-nic-v2";
				ae-handle = <&soc0_dsa>;
				port-id = <1>;
				local-mac-address = [00 00 00 01 00 57];
				dma-coherent;
		};

		infiniband@c4000000 {
			compatible = "hisilicon,hns-roce-v1";
			reg = <0x0 0xc4000000 0x0 0x100000>;
			dma-coherent;
			eth-handle = <&eth0 &eth1 &eth2 &eth3 &eth5 &eth4>;
			dsaf-handle = <&soc0_dsa>;
			#address-cells = <2>;
			#size-cells = <2>;
			interrupt-parent = <&p0_mbigen_dsa_a>;
			interrupts = <0x40B1E 34 18 6>,
				<0x40B1E 34 19 6>,
				<0x40B1E 34 20 6>,
				<0x40B1E 34 21 6>,
				<0x40B1E 34 22 6>,
				<0x40B1E 34 23 6>,
				<0x40B1E 34 24 6>,
				<0x40B1E 34 25 6>,
				<0x40B1E 34 26 6>,
				<0x40B1E 34 27 6>,
				<0x40B1E 34 28 6>,
				<0x40B1E 34 29 6>,
				<0x40B1E 34 30 6>,
				<0x40B1E 34 31 6>,
				<0x40B1E 34 32 6>,
				<0x40B1E 34 33 6>,
				<0x40B1E 34 34 6>,
				<0x40B1E 34 35 6>,
				<0x40B1E 34 36 6>,
				<0x40B1E 34 37 6>,
				<0x40B1E 34 38 6>,
				<0x40B1E 34 39 6>,
				<0x40B1E 34 40 6>,
				<0x40B1E 34 41 6>,
				<0x40B1E 34 42 6>,
				<0x40B1E 34 43 6>,
				<0x40B1E 34 44 6>,
				<0x40B1E 34 45 6>,
				<0x40B1E 34 46 6>,
				<0x40B1E 34 47 6>,
				<0x40B1E 34 48 6>,
				<0x40B1E 34 49 6>,
				<0x40B1E 34 50 6>,
				<0x40B1E 34 81 6>;
			interrupt-names = "hns-roce-comp-0",
				"hns-roce-comp-1",
				"hns-roce-comp-2",
				"hns-roce-comp-3",
				"hns-roce-comp-4",
				"hns-roce-comp-5",
				"hns-roce-comp-6",
				"hns-roce-comp-7",
				"hns-roce-comp-8",
				"hns-roce-comp-9",
				"hns-roce-comp-10",
				"hns-roce-comp-11",
				"hns-roce-comp-12",
				"hns-roce-comp-13",
				"hns-roce-comp-14",
				"hns-roce-comp-15",
				"hns-roce-comp-16",
				"hns-roce-comp-17",
				"hns-roce-comp-18",
				"hns-roce-comp-19",
				"hns-roce-comp-20",
				"hns-roce-comp-21",
				"hns-roce-comp-22",
				"hns-roce-comp-23",
				"hns-roce-comp-24",
				"hns-roce-comp-25",
				"hns-roce-comp-26",
				"hns-roce-comp-27",
				"hns-roce-comp-28",
				"hns-roce-comp-29",
				"hns-roce-comp-30",
				"hns-roce-comp-31",
				"hns-roce-async",
				"hns-roce-common";
			};
	}; /* soc0 */

	/include/ "hi1616_sas_evb_p0_na.dtsi"
	/include/ "hi1616_sas_evb_p0_nb.dtsi"
	/include/ "hi1616_2p_evb_pcie.dtsi"
	/include/ "hi1616_2p_serdes.dtsi"
};
